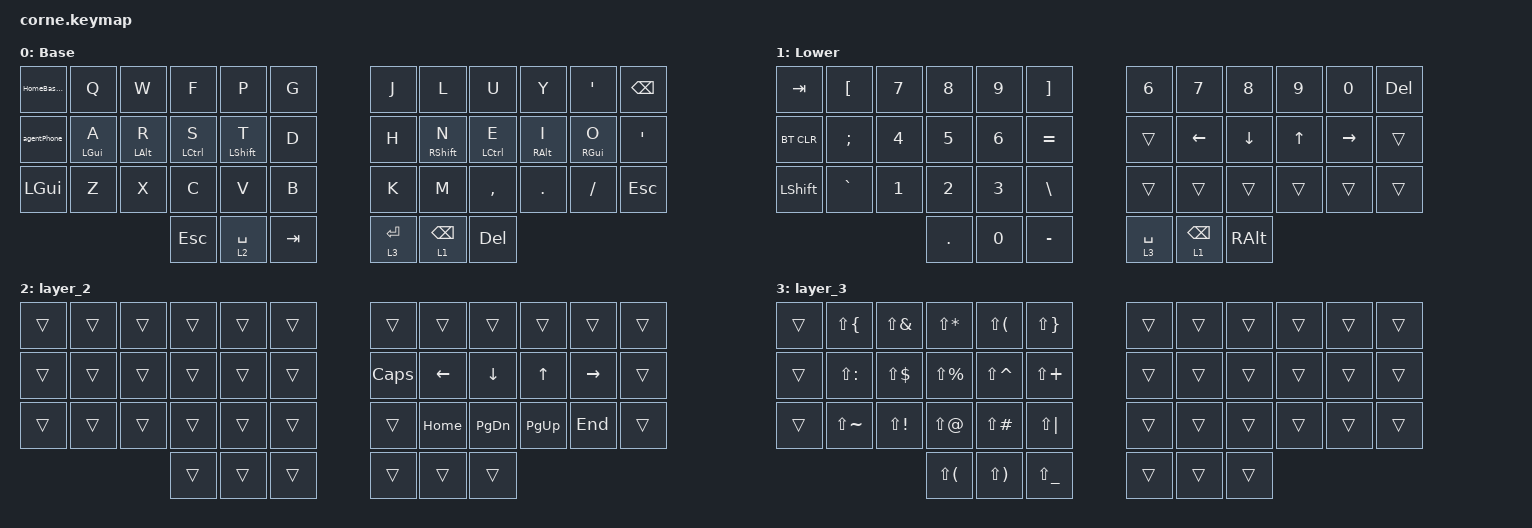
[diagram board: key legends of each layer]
/*
 * Copyright (c) 2020 The ZMK Contributors
 *
 * SPDX-License-Identifier: MIT
 */

#include <behaviors.dtsi>
#include <dt-bindings/zmk/bt.h>
#include <dt-bindings/zmk/keys.h>

/ {
    macros {
        HomeBasedAgent: HomeBasedAgent {
            compatible = "zmk,behavior-macro";
            #binding-cells = <0>;
            bindings = <&none &kp LS(H) &kp O &kp M &kp E &kp SPACE &kp LS(B) &kp A &kp S &kp E &kp D &kp SPACE &kp LS(A) &kp G &kp E &kp N &kp T>;
            label = "HOMEBASEDAGENT";
        };

        agentPhone: agentPhone {
            compatible = "zmk,behavior-macro";
            #binding-cells = <0>;
            bindings = <&kp RIGHT &kp SPACE &kp RIGHT &kp SPACE &kp RIGHT &kp RIGHT &kp RIGHT &kp SPACE &kp RIGHT &kp RIGHT &kp RIGHT &kp SPACE>;
            label = "AGENTPHONE";
        };
    };

    keymap {
        compatible = "zmk,keymap";

        default_layer {
            // -----------------------------------------------------------------------------------------
            // |  TAB |  Q  |  W  |  E  |  R  |  T  |   |  Y  |  U   |  I  |  O  |  P  | BKSP |
            // | CTRL |  A  |  S  |  D  |  F  |  G  |   |  H  |  J   |  K  |  L  |  ;  |  '   |
            // | SHFT |  Z  |  X  |  C  |  V  |  B  |   |  N  |  M   |  ,  |  .  |  /  | ESC  |
            //                    | GUI | LWR | SPC |   | ENT | RSE  | ALT |

            label = "Base";
            bindings = <
&HomeBasedAgent  &kp Q           &kp W           &kp F        &kp P             &kp G      &kp J        &kp L            &kp U        &kp Y       &kp SQT          &kp BSPC
&agentPhone      &mt LEFT_GUI A  &mt LEFT_ALT R  &mt LCTRL S  &mt LEFT_SHIFT T  &kp D      &kp H        &mt RSHFT N      &mt LCTRL E  &mt RALT I  &mt RIGHT_GUI O  &kp SQT
&kp LGUI         &kp Z           &kp X           &kp C        &kp V             &kp B      &kp K        &kp M            &kp COMMA    &kp DOT     &kp FSLH         &kp ESC
                                                 &kp ESC      &lt 2 SPACE       &kp TAB    &lt 3 ENTER  &lt 1 BACKSPACE  &kp DELETE
            >;
        };

        lower_layer {
            // -----------------------------------------------------------------------------------------
            // |  TAB |  1  |  2  |  3  |  4  |  5  |   |  6  |  7  |  8  |  9  |  0  | BKSP |
            // | BTCLR| BT1 | BT2 | BT3 | BT4 | BT5 |   | LFT | DWN |  UP | RGT |     |      |
            // | SHFT |     |     |     |     |     |   |     |     |     |     |     |      |
            //                    | GUI |     | SPC |   | ENT |     | ALT |

            label = "Lower";
            bindings = <
&kp TAB     &kp LBKT   &kp N7  &kp N8   &kp N9  &kp RBKT     &kp N6       &kp N7           &kp N8    &kp N9        &kp N0     &kp DELETE
&bt BT_CLR  &kp SEMI   &kp N4  &kp N5   &kp N6  &kp EQUAL    &trans       &kp LEFT         &kp DOWN  &kp UP_ARROW  &kp RIGHT  &trans
&kp LSHFT   &kp GRAVE  &kp N1  &kp N2   &kp N3  &kp BSLH     &trans       &trans           &trans    &trans        &trans     &trans
                               &kp DOT  &kp N0  &kp MINUS    &lt 3 SPACE  &lt 1 BACKSPACE  &kp RALT
            >;
        };

        layer_2 {
            bindings = <
&trans  &trans  &trans  &trans  &trans  &trans    &trans    &trans    &trans     &trans     &trans     &trans
&trans  &trans  &trans  &trans  &trans  &trans    &kp CAPS  &kp LEFT  &kp DOWN   &kp UP     &kp RIGHT  &trans
&trans  &trans  &trans  &trans  &trans  &trans    &trans    &kp HOME  &kp PG_DN  &kp PG_UP  &kp END    &trans
                        &trans  &trans  &trans    &trans    &trans    &trans
            >;
        };

        layer_3 {
            bindings = <
&trans  &kp LS(LBRC)   &kp LS(AMPS)  &kp LS(STAR)   &kp LS(LPAR)   &kp LS(RBRC)     &trans  &trans  &trans  &trans  &trans  &trans
&trans  &kp LS(COLON)  &kp LS(DLLR)  &kp LS(PRCNT)  &kp LS(CARET)  &kp LS(PLUS)     &trans  &trans  &trans  &trans  &trans  &trans
&trans  &kp LS(TILDE)  &kp LS(EXCL)  &kp LS(AT)     &kp LS(POUND)  &kp LS(PIPE)     &trans  &trans  &trans  &trans  &trans  &trans
                                     &kp LS(LPAR)   &kp LS(RPAR)   &kp LS(UNDER)    &trans  &trans  &trans
            >;
        };
    };
};
